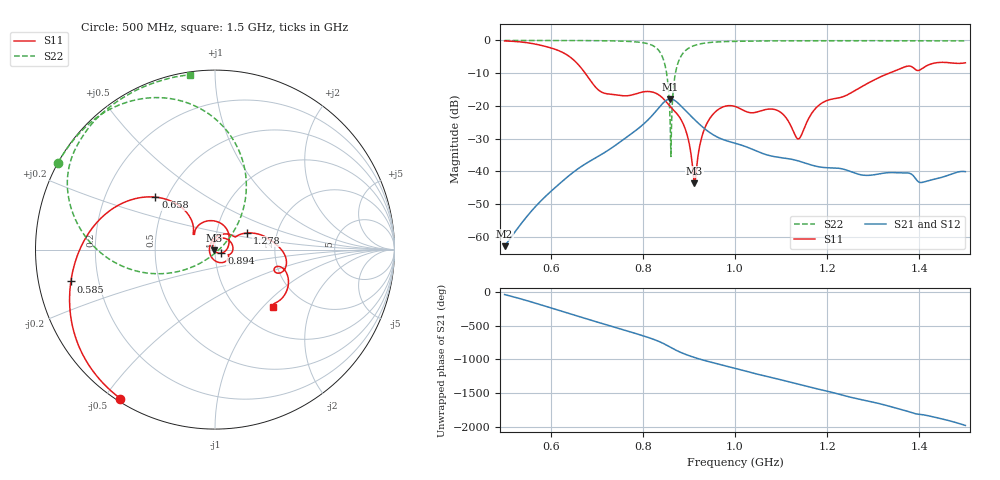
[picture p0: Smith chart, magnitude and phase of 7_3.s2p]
! TOUCHSTONE file generated by CST MICROWAVE STUDIO
! Date and time: Fri Oct  2 16:40:06 2020
! Project name: Scenario_1_Free_Space_out_of_line.cst
! Parameters = {Lambda=346.42; Step_1=17.321; dy1=243.594; dx1=520; L_HA=400; MT=2.54; Rad_Dielectric=30; Rad_Lower=7.3; Rad_Upper=30; a_HA=580; a_WG=246; b_HA=500; b_WG=121; c_HA=0; c_WG=187; d_feed=85; h_feed=15; h_lower=18; h_upper=40}
! Header version: 2018
! Port assignment regex: !\s*Touchstone port\s*([0-9]+)\s*=\s*(CST MWS port|CST DS port)\s*([0-9]+|Zmin|Zmax)\s*\(\"(.*)\"\)(\s*mode\s*([0-9]+))?.*
! Touchstone port assignment:
! Touchstone port 1 = CST MWS port 1 ("")
! Touchstone port 2 = CST MWS port 2 ("")
# GHz S DB R 50
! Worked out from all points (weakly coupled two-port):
!   1003 points, 500 MHz to 1.5 GHz, reference 50 ohm
!   highest |S21| = -17.89 dB at 860 MHz (marker M1); lowest = -62.9 dB at 500 MHz (marker M2)
!   lowest |S11| = -43.7 dB at 912 MHz (marker M3), VSWR 1.01, Z = 49.5 - j0.424 ohm
!   |S11| at or under -10 dB: 674.8 MHz to 1.335 GHz (660 MHz wide, 65.7 % of centre)
!   |S22| runs from -35.5 to 0.0 dB; largest |S21 - S12| = 1e-05
!   S11 on the Smith chart (normalised r, x): 500 MHz: 0.01, -0.55; 585 MHz: 0.10, -0.11; 658 MHz: 0.43, +0.31; 894 MHz: 1.07, -0.04; 1.278 GHz: 1.41, +0.27; 1.5 GHz: 1.43, -1.14
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0.5  -0.15 -122.4  -62.88 -36.6  -62.88 -36.6  -0.01 151.1
0.585  -1.70 -167.5  -48.18 157.6  -48.17 157.6  -0.02 145.3
0.658  -7.09 138.6  -39.35 4.6  -39.35 4.6  -0.04 139.2
0.667  -8.55 132.8  -38.48 -14.6  -38.48 -14.6  -0.04 138.4
0.711  -15.83 137.8  -34.77 -105.4  -34.77 -105.4  -0.08 133.5
0.779  -16.56 139.7  -28.12 116.3  -28.12 116.3  -0.38 121.1
0.834  -16.58 75.8  -20.70 -10.8  -20.70 -10.8  -2.96 88.3
0.849  -18.51 50.7  -18.49 -59.2  -18.49 -59.2  -8.11 63.6
0.86  -20.31 34.9  -17.89 -100.3  -17.89 -100.3  -30.08 14.3
0.864  -20.91 29.3  -17.99 -115.3  -17.99 -115.3  -19.12 -137.2
0.874  -22.41 13.4  -18.86 -150.6  -18.86 -150.6  -7.96 -160.9
0.894  -27.88 -28.9  -21.63 151.1  -21.63 151.1  -2.91 175.1
0.912  -43.66 -139.2  -24.17 108.0  -24.17 108.0  -1.54 163.6
0.943  -24.36 75.6  -27.94 46.8  -27.94 46.8  -0.66 151.9
1  -20.19 -5.2  -31.42 -51.9  -31.42 -51.9  -0.28 140.6
1.094  -21.53 -59.0  -35.71 146.3  -35.71 146.3  -0.13 130.4
1.137  -30.11 -178.8  -36.81 70.7  -36.81 70.7  -0.11 126.8
1.167  -22.18 78.3  -38.13 19.9  -38.13 19.9  -0.10 124.4
1.278  -13.88 27.2  -41.17 -163.4  -41.17 -163.4  -0.08 115.9
1.334  -10.05 9.6  -40.41 105.3  -40.41 105.3  -0.09 111.6
1.405  -8.69 -14.7  -43.42 -20.1  -43.42 -20.1  -0.10 106.1
1.5  -6.83 -44.4  -40.11 178.2  -40.10 178.2  -0.14 98.1
